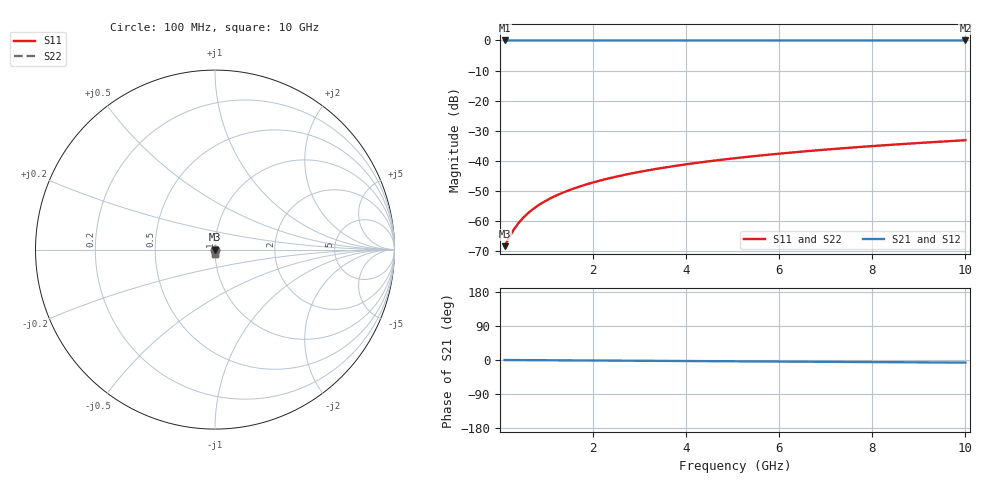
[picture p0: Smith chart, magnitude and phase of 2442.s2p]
# Hz S RI R 50.00
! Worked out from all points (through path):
!   100 points, 100 MHz to 10 GHz, reference 50 ohm
!   highest |S21| = 0.00 dB at 100 MHz (marker M1); lowest = 0.0 dB at 10 GHz (marker M2)
!   lowest |S11| = -68.3 dB at 100 MHz (marker M3), VSWR 1.00, Z = 50 - j0.0219 ohm
!   |S11| at or under -10 dB: start of sweep to end of sweep
!   |S22| runs from -68.3 to -33.1 dB; largest |S21 - S12| = 0
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1e8  0.000315 -0.000218  0.9997 -0.00119  0.9997 -0.00119  0.000315 -0.000218
2e8  0.000316 -0.000437  0.9997 -0.00238  0.9997 -0.00238  0.000316 -0.000437
3e8  0.000316 -0.000655  0.9997 -0.00357  0.9997 -0.00357  0.000316 -0.000655
4e8  0.000314 -0.000874  0.9997 -0.00476  0.9997 -0.00476  0.000314 -0.000874
5e8  0.000313 -0.00109  0.9997 -0.00595  0.9997 -0.00595  0.000313 -0.00109
6e8  0.00031 -0.00131  0.9996 -0.00714  0.9996 -0.00714  0.00031 -0.00131
7e8  0.000307 -0.00153  0.9996 -0.00833  0.9996 -0.00833  0.000307 -0.00153
9e8  0.000299 -0.00197  0.9996 -0.0107  0.9996 -0.0107  0.000299 -0.00197
1e9  0.000294 -0.00219  0.9996 -0.0119  0.9996 -0.0119  0.000294 -0.00219
1.2e9  0.000282 -0.00262  0.9996 -0.0143  0.9996 -0.0143  0.000282 -0.00262
1.5e9  0.000261 -0.00328  0.9995 -0.0179  0.9995 -0.0179  0.000261 -0.00328
1.8e9  0.000235 -0.00394  0.9994 -0.0214  0.9994 -0.0214  0.000235 -0.00394
2.1e9  0.000204 -0.00459  0.9993 -0.025  0.9993 -0.025  0.000204 -0.00459
2.5e9  0.000155 -0.00547  0.9992 -0.0298  0.9992 -0.0298  0.000155 -0.00547
2.9e9  9.78e-05 -0.00635  0.999 -0.0345  0.999 -0.0345  9.78e-05 -0.00635
3.4e9  1.41e-05 -0.00745  0.9988 -0.0405  0.9988 -0.0405  1.41e-05 -0.00745
4.2e9  -0.000147 -0.0092  0.9983 -0.0501  0.9983 -0.0501  -0.000147 -0.0092
5.1e9  -0.00037 -0.0112  0.9977 -0.0608  0.9977 -0.0608  -0.00037 -0.0112
5.9e9  -0.000604 -0.0129  0.997 -0.0704  0.997 -0.0704  -0.000604 -0.0129
6.7e9  -0.000872 -0.0147  0.9963 -0.08  0.9963 -0.08  -0.000872 -0.0147
8.4e9  -0.00156 -0.0184  0.9944 -0.1004  0.9944 -0.1004  -0.00156 -0.0184
1e10  -0.00234 -0.0219  0.9921 -0.1196  0.9921 -0.1196  -0.00234 -0.0219
